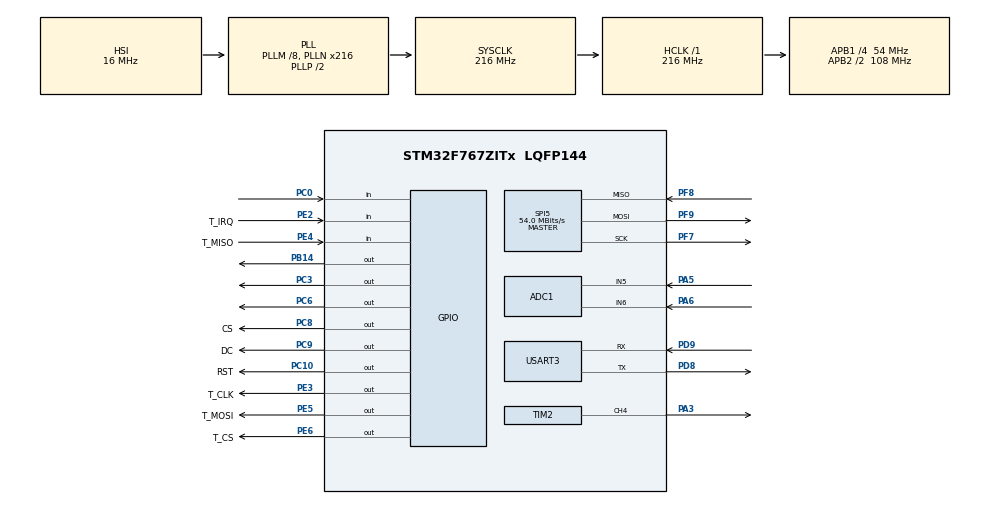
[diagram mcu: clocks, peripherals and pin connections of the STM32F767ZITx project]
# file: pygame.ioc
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ADC1.Channel-2\#ChannelRegularConversion=ADC_CHANNEL_5
ADC1.Channel-3\#ChannelRegularConversion=ADC_CHANNEL_6
ADC1.ContinuousConvMode=ENABLE
ADC1.DMAContinuousRequests=ENABLE
ADC1.NbrOfConversion=2
ADC1.NbrOfConversionFlag=1
ADC1.Rank-2\#ChannelRegularConversion=1
ADC1.Rank-3\#ChannelRegularConversion=2
ADC1.SamplingTime-2\#ChannelRegularConversion=ADC_SAMPLETIME_84CYCLES
ADC1.SamplingTime-3\#ChannelRegularConversion=ADC_SAMPLETIME_84CYCLES
ADC1.master=1
CORTEX_M7.ART_ACCELERATOR_ENABLE=1
CORTEX_M7.CPU_DCache=Enabled
CORTEX_M7.CPU_ICache=Enabled
CORTEX_M7.MPU_Control=__NULL
CORTEX_M7.PREFETCH_ENABLE=1
CORTEX_M7.default_mode_Activation=1
Dma.ADC1.0.Direction=DMA_PERIPH_TO_MEMORY
Dma.ADC1.0.FIFOMode=DMA_FIFOMODE_DISABLE
Dma.ADC1.0.Instance=DMA2_Stream0
Dma.ADC1.0.MemDataAlignment=DMA_MDATAALIGN_WORD
Dma.ADC1.0.MemInc=DMA_MINC_ENABLE
Dma.ADC1.0.Mode=DMA_CIRCULAR
Dma.ADC1.0.PeriphDataAlignment=DMA_PDATAALIGN_WORD
Dma.ADC1.0.PeriphInc=DMA_PINC_DISABLE
Dma.ADC1.0.Priority=DMA_PRIORITY_HIGH
Dma.Request0=ADC1
Mcu.Family=STM32F7
Mcu.Name=STM32F767ZITx
Mcu.Package=LQFP144
NVIC.ADC_IRQn=true\:2\:0\:true\:false\:true\:true\:true\:true
NVIC.DMA2_Stream0_IRQn=true\:0\:0\:false\:false\:true\:false\:true\:true
NVIC.PriorityGroup=NVIC_PRIORITYGROUP_4
NVIC.USART3_IRQn=true\:1\:0\:true\:false\:true\:true\:true\:true
PA3.Signal=S_TIM2_CH4
PA5.Signal=ADCx_IN5
PA6.Signal=ADCx_IN6
PB14.Signal=GPIO_Output
PC0.GPIO_PuPd=GPIO_PULLUP
PC0.Signal=GPIO_Input
PC10.GPIO_Label=RST
PC10.GPIO_Speed=GPIO_SPEED_FREQ_VERY_HIGH
PC10.Signal=GPIO_Output
PC3.Signal=GPIO_Output
PC6.Signal=GPIO_Output
PC8.GPIO_Label=CS
PC8.GPIO_Speed=GPIO_SPEED_FREQ_VERY_HIGH
PC8.Signal=GPIO_Output
PC9.GPIO_Label=DC
PC9.GPIO_Speed=GPIO_SPEED_FREQ_VERY_HIGH
PC9.Signal=GPIO_Output
PD8.Mode=Asynchronous
PD8.Signal=USART3_TX
PD9.Mode=Asynchronous
PD9.Signal=USART3_RX
PE2.GPIO_Label=T_IRQ
PE2.Signal=GPIO_Input
PE3.GPIO_Label=T_CLK
PE3.GPIO_Speed=GPIO_SPEED_FREQ_VERY_HIGH
PE3.Signal=GPIO_Output
PE4.GPIO_Label=T_MISO
PE4.Signal=GPIO_Input
PE5.GPIO_Label=T_MOSI
PE5.GPIO_Speed=GPIO_SPEED_FREQ_VERY_HIGH
PE5.Signal=GPIO_Output
PE6.GPIO_Label=T_CS
PE6.GPIO_Speed=GPIO_SPEED_FREQ_VERY_HIGH
PE6.Signal=GPIO_Output
PF7.Mode=Full_Duplex_Master
PF7.Signal=SPI5_SCK
PF8.Mode=Full_Duplex_Master
PF8.Signal=SPI5_MISO
PF9.Mode=Full_Duplex_Master
PF9.Signal=SPI5_MOSI
ProjectManager.HeapSize=0x200
ProjectManager.StackSize=0x400
ProjectManager.TargetToolchain=STM32CubeIDE
RCC.AHBFreq_Value=216000000
RCC.APB1CLKDivider=RCC_HCLK_DIV4
RCC.APB1Freq_Value=54000000
RCC.APB1TimFreq_Value=108000000
RCC.APB2CLKDivider=RCC_HCLK_DIV2
RCC.APB2Freq_Value=108000000
RCC.APB2TimFreq_Value=216000000
RCC.CortexFreq_Value=216000000
RCC.HCLKFreq_Value=216000000
RCC.HSE_VALUE=25000000
RCC.HSI_VALUE=16000000
RCC.LSE_VALUE=32768
RCC.PLLM=8
RCC.PLLN=216
RCC.SYSCLKFreq_VALUE=216000000
RCC.SYSCLKSource=RCC_SYSCLKSOURCE_PLLCLK
RCC.USBFreq_Value=216000000
RCC.VCOOutputFreq_Value=432000000
SH.ADCx_IN5.0=ADC1_IN5,IN5
SH.ADCx_IN6.0=ADC1_IN6,IN6
SH.S_TIM2_CH4.0=TIM2_CH4,PWM Generation4 CH4
SPI5.CalculateBaudRate=54.0 MBits/s
SPI5.DataSize=SPI_DATASIZE_8BIT
SPI5.Direction=SPI_DIRECTION_2LINES
SPI5.Mode=SPI_MODE_MASTER
SPI5.NSSPMode=SPI_NSS_PULSE_DISABLE
SPI5.VirtualType=VM_MASTER
TIM1.ClockDivision=TIM_CLOCKDIVISION_DIV2
TIM1.Period=0
TIM1.Prescaler=10000
TIM2.Channel-PWM\ Generation4\ CH4=TIM_CHANNEL_4
TIM2.Period=500-1
TIM2.Prescaler=216-1
TIM2.Pulse-PWM\ Generation4\ CH4=500/2 - 1
USART3.VirtualMode-Asynchronous=VM_ASYNC
VP_RNG_VS_RNG.Mode=RNG_Activate
VP_TIM1_VS_ClockSourceINT.Mode=Internal
VP_TIM2_VS_ClockSourceINT.Mode=Internal
board=custom

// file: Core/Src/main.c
/* USER CODE BEGIN Header */
/**
  ******************************************************************************
  * @file           : main.c
  * @brief          : Main program body
  ******************************************************************************
  * @attention
  *
  * Copyright (c) 2025 STMicroelectronics.
  * All rights reserved.
  *
  * This software is licensed under terms that can be found in the LICENSE file
  * in the root directory of this software component.
  * If no LICENSE file comes with this software, it is provided AS-IS.
  *
  ******************************************************************************
  */
/* USER CODE END Header */
#include "main.h"
#include "adc.h"
#include "dma.h"
#include "rng.h"
#include "spi.h"
#include "tim.h"
#include "usart.h"
#include "gpio.h"

/* USER CODE BEGIN Includes */
#include "stdio.h"
#include "string.h"

#include "ILI9341_GFX.h"
#include "ILI9341_STM32_Driver.h"
#include "ILI9341_Touchscreen.h"
/* USER CODE END Includes */

/* USER CODE BEGIN PM */
#define ILI9341_COLOR565(r,g,b) ( ((r & 0xF8) << 8) | ((g & 0xFC) << 3) | ((b) >> 3) )

/* USER CODE END PM */

/* USER CODE BEGIN PV */
uint8_t rx_buffer[100];
uint8_t echo_buffer[100];
static uint8_t rx_index = 0;
uint8_t byte;
volatile uint8_t command_ready = 0;  // Flag when full command received
volatile uint8_t command_length = 0;
volatile uint8_t led_blink_flag = 0;
volatile uint8_t buzz_flag = 0;
volatile uint8_t joystick_flag = 0;
uint16_t x;
uint16_t y;
volatile uint32_t readValue [2];
uint8_t state;
uint16_t deadzone = 50;
uint16_t mid_x = 3100;
uint16_t mid_y = 3100;

int food_count = 0;
int energy_level = 0;
char status_msg[50] = "Ready";

char b [50];

/* USER CODE END PV */

void SystemClock_Config(void);

/* USER CODE BEGIN 0 */
void Set_Buzzer_PWM(uint16_t duty);
/* USER CODE END 0 */

int main(void)
{

  /* Enable the CPU Cache */

  /* Enable I-Cache---------------------------------------------------------*/
  SCB_EnableICache();

  /* Enable D-Cache---------------------------------------------------------*/
  SCB_EnableDCache();

  /* MCU Configuration--------------------------------------------------------*/

  /* Reset of all peripherals, Initializes the Flash interface and the Systick. */
  HAL_Init();

  /* Configure the system clock */
  SystemClock_Config();

  /* Initialize all configured peripherals */
  MX_GPIO_Init();
  MX_DMA_Init();
  MX_USART3_UART_Init();
  MX_ADC1_Init();
  MX_RNG_Init();
  MX_SPI5_Init();
  MX_TIM1_Init();
  MX_TIM2_Init();
  /* USER CODE BEGIN 2 */
  ILI9341_Init();
  HAL_ADC_Start_DMA(&hadc1, (uint32_t*)readValue, 2);
  HAL_UART_Receive_IT(&huart3, &byte, 1);
  HAL_TIM_PWM_Start(&htim2, TIM_CHANNEL_4);

  ILI9341_Set_Rotation(SCREEN_HORIZONTAL_2);
//  ILI9341_Fill_Screen(BLACK);
//  ILI9341_Draw_Text("Treasure Hunt Ready!", 10, 10, WHITE, 2, BLACK);
//  ILI9341_Draw_Text("Food: 0", 10, 40, GREEN, 2, BLACK);
//  ILI9341_Draw_Text("Energy: 100", 10, 70, YELLOW, 2, BLACK);

  // Draw dashboard frame
  ILI9341_Fill_Screen(BLACK);

  // Title
  ILI9341_Draw_Text("Treasure Hunt", 10, 10, WHITE, 2, BLACK);

  // Food Box
  ILI9341_Draw_Filled_Rectangle_Coord(10, 40, 310, 70, DARKGREEN);
  ILI9341_Draw_Text("Food: 0", 15, 45, WHITE, 2, DARKGREEN);

  // Energy Box
  ILI9341_Draw_Filled_Rectangle_Coord(10, 75, 310, 105, DARKYELLOW);
  ILI9341_Draw_Text("Energy: 100", 15, 80, WHITE, 2, DARKYELLOW);

  // Status Box
  ILI9341_Draw_Filled_Rectangle_Coord(10, 110, 310, 140, DARKCYAN);
  ILI9341_Draw_Text("Status: Ready", 15, 115, WHITE, 2, DARKCYAN);

  /* USER CODE END 2 */

  /* Infinite loop */
  /* USER CODE BEGIN WHILE */
  while (1)
  {

	  if (command_ready) {
	       // Echo back for testing with clear formatting
	       HAL_UART_Transmit(&huart3, echo_buffer, command_length, 100);
	       char buffer[50];
	       // Update Food value
	          ILI9341_Draw_Filled_Rectangle_Coord(80, 45, 220, 65, DARKGREEN);
	          sprintf(buffer, "%d", food_count);
	          ILI9341_Draw_Text(buffer, 80, 45, GREEN, 2, DARKGREEN);

	          // Update Energy value
	          ILI9341_Draw_Filled_Rectangle_Coord(90, 80, 220, 100, DARKYELLOW);
	          sprintf(buffer, "%d", energy_level);
	          ILI9341_Draw_Text(buffer, 100, 80, YELLOW, 2, DARKYELLOW);

	          // Update Status
	          ILI9341_Draw_Filled_Rectangle_Coord(90, 115, 300, 135, DARKCYAN);
	          ILI9341_Draw_Text(status_msg, 100, 115, CYAN, 2, DARKCYAN);
	       command_ready = 0;
	     }

	  if (buzz_flag)
	  {
		  Set_Buzzer_PWM(50);   // 50% duty cycle, adjust volume
		  HAL_Delay(300);
		  Set_Buzzer_PWM(0);    // Turn off buzzer
		  buzz_flag = 0;
	  }

	    if (led_blink_flag) {
	        HAL_GPIO_WritePin(GPIOB, GPIO_PIN_14, GPIO_PIN_SET);
	        HAL_Delay(300);
	        HAL_GPIO_WritePin(GPIOB, GPIO_PIN_14, GPIO_PIN_RESET);
	        led_blink_flag = 0;
	    }
	  if (joystick_flag) {
		  x = (uint16_t) readValue[0];
		  y = (uint16_t) readValue[1];

		  state = HAL_GPIO_ReadPin(GPIOC, GPIO_PIN_0);
		  joystick_flag = 0;
	//	  sprintf(b, "X : %d, Y : %d, button: %d\r\n" ,x, y, state);
	//	  HAL_UART_Transmit(&huart3, (uint8_t*)b, strlen(b), HAL_MAX_DELAY);
	//	  HAL_Delay(300);

		  char dir = 'N'; // N = Neutral / no movement

		 if (x > mid_x + deadzone)
			 dir = 'R'; // right
		 else if (x < mid_x - deadzone)
			 dir = 'L'; // left
		 else if (y > mid_y + deadzone)
			 dir = 'U'; // up
		 else if (y < mid_y - deadzone)
			 dir = 'D'; // down

		 // Send only if movement detected
		 if (dir != 'N')
		 {
			char msg[3] = {dir, '\r', '\n'};
			HAL_UART_Transmit(&huart3, (uint8_t*)msg, 3, HAL_MAX_DELAY);
		 }

		 // Send button state if pressed
		 if (state == GPIO_PIN_RESET)
		 {
			char msg[3] = {'B', '\r', '\n'};
			HAL_UART_Transmit(&huart3, (uint8_t*)msg, 3, HAL_MAX_DELAY);
		 }
	  }
	HAL_Delay(200);

    /* USER CODE END WHILE */

  }
}

void SystemClock_Config(void)
{
  RCC_OscInitTypeDef RCC_OscInitStruct = {0};
  RCC_ClkInitTypeDef RCC_ClkInitStruct = {0};

  /** Configure the main internal regulator output voltage
  */
  __HAL_RCC_PWR_CLK_ENABLE();
  __HAL_PWR_VOLTAGESCALING_CONFIG(PWR_REGULATOR_VOLTAGE_SCALE1);

  /** Initializes the RCC Oscillators according to the specified parameters
  * in the RCC_OscInitTypeDef structure.
  */
  RCC_OscInitStruct.OscillatorType = RCC_OSCILLATORTYPE_HSI;
  RCC_OscInitStruct.HSIState = RCC_HSI_ON;
  RCC_OscInitStruct.HSICalibrationValue = RCC_HSICALIBRATION_DEFAULT;
  RCC_OscInitStruct.PLL.PLLState = RCC_PLL_ON;
  RCC_OscInitStruct.PLL.PLLSource = RCC_PLLSOURCE_HSI;
  RCC_OscInitStruct.PLL.PLLM = 8;
  RCC_OscInitStruct.PLL.PLLN = 216;
  RCC_OscInitStruct.PLL.PLLP = RCC_PLLP_DIV2;
  RCC_OscInitStruct.PLL.PLLQ = 2;
  RCC_OscInitStruct.PLL.PLLR = 2;
  if (HAL_RCC_OscConfig(&RCC_OscInitStruct) != HAL_OK)
  {
    Error_Handler();
  }

  /** Activate the Over-Drive mode
  */
  if (HAL_PWREx_EnableOverDrive() != HAL_OK)
  {
    Error_Handler();
  }

  /** Initializes the CPU, AHB and APB buses clocks
  */
  RCC_ClkInitStruct.ClockType = RCC_CLOCKTYPE_HCLK|RCC_CLOCKTYPE_SYSCLK
                              |RCC_CLOCKTYPE_PCLK1|RCC_CLOCKTYPE_PCLK2;
  RCC_ClkInitStruct.SYSCLKSource = RCC_SYSCLKSOURCE_PLLCLK;
  RCC_ClkInitStruct.AHBCLKDivider = RCC_SYSCLK_DIV1;
  RCC_ClkInitStruct.APB1CLKDivider = RCC_HCLK_DIV4;
  RCC_ClkInitStruct.APB2CLKDivider = RCC_HCLK_DIV2;

  if (HAL_RCC_ClockConfig(&RCC_ClkInitStruct, FLASH_LATENCY_7) != HAL_OK)
  {
    Error_Handler();
  }
}

/* USER CODE BEGIN 4 */
void Set_Buzzer_PWM(uint16_t duty) {
    // duty: 0-100 for 0% to 100%
    if(duty > 100) duty = 100;
    __HAL_TIM_SET_COMPARE(&htim2, TIM_CHANNEL_4, (htim2.Init.Period + 1) * duty / 100);
}
void HAL_ADC_ConvCpltCallback(ADC_HandleTypeDef* hadc)
{
    if(hadc->Instance == ADC1)
    {
        // Joystick values are ready in readValue array
        joystick_flag = 1;
        // Process joystick input here
    }
}
void HAL_UART_RxCpltCallback(UART_HandleTypeDef *huart)
{
	  if (huart->Instance == USART3)
	  {
	    rx_buffer[rx_index++] = byte;

	    // Check for end of message
	    if (byte == '\n' || rx_index >= sizeof(rx_buffer)-1) {
	      led_blink_flag = 1;  // Visual confirmation

	      rx_buffer[rx_index] = '\0';
	      memcpy(echo_buffer, rx_buffer, rx_index);
	      command_length = rx_index;
	      if (rx_buffer[0] == 'F' && rx_buffer[1] == ':') {
			  food_count = atoi((char*)&rx_buffer[2]);
		      command_ready = 1;
		      buzz_flag = 1;
		  }
		  else if (rx_buffer[0] == 'E' && rx_buffer[1] == ':') {
			  energy_level = atoi((char*)&rx_buffer[2]);
		      command_ready = 1;
		  }
		  else if (rx_buffer[0] == 'S' && rx_buffer[1] == ':') {
			  strcpy(status_msg, (char*)&rx_buffer[2]);
		      command_ready = 1;
		      buzz_flag = 1;
		  }
	      rx_index = 0;
	    }

	    HAL_UART_Receive_IT(&huart3, &byte, 1);
    }
}
/* USER CODE END 4 */

void Error_Handler(void)
{
  __disable_irq();
  while (1)
  {
  }
}
